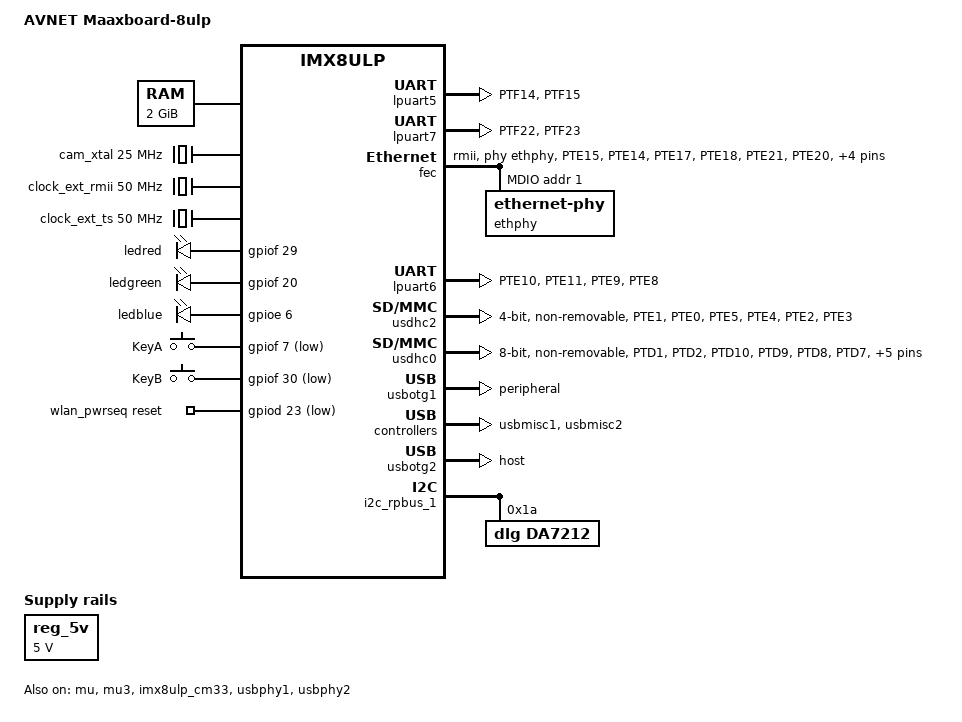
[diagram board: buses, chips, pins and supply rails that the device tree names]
// SPDX-License-Identifier: GPL-2.0
/*
 * Device Tree Source for the Avnet MaaXBoard-8ULP (i.MX8ULP Cortex-A55 + Cortex-M33)
 *
 * Copyright (C) 2022 Avnet Corp.
 */

/dts-v1/;

#include "imx8ulp.dtsi"
#include "imx8ulp-rpmsg.dtsi"
#include <dt-bindings/input/input.h>

/ {
	model = "AVNET Maaxboard-8ulp";
	compatible = "avnet,maaxboard-8ulp", "fsl,imx8ulp-evk", "fsl,imx8ulp";

	chosen {
		stdout-path = &lpuart5;
	};

	memory@40000000 {
		device_type = "memory";
		reg = <0x0 0x80000000 0 0x80000000>;
	};

	reserved-memory {
		#address-cells = <2>;
		#size-cells = <2>;
		ranges;

		linux,cma {
			compatible = "shared-dma-pool";
			reusable;
			size = <0 0x28000000>;
			linux,cma-default;
		};

		rsc_table: rsc-table@1fff8000{
			reg = <0 0x1fff8000 0 0x1000>;
			no-map;
		};

		dsp_reserved: dsp_reserved@8e000000 {
			reg = <0 0x8e000000 0 0x1000000>;
			no-map;
		};
		dsp_reserved_heap: dsp_reserved_heap {
			reg = <0 0x8f000000 0 0xef0000>;
			no-map;
		};
		dsp_vdev0vring0: vdev0vring0@8fef0000 {
			reg = <0 0x8fef0000 0 0x8000>;
			no-map;
		};
		dsp_vdev0vring1: vdev0vring1@8fef8000 {
			reg = <0 0x8fef8000 0 0x8000>;
			no-map;
		};
		dsp_vdev0buffer: vdev0buffer@8ff00000 {
			compatible = "shared-dma-pool";
			reg = <0 0x8ff00000 0 0x100000>;
			no-map;
		};

		ele_reserved: ele-reserved@90000000 {
			compatible = "shared-dma-pool";
			reg = <0 0x90000000 0 0x100000>;
			no-map;
		};

		vdev0vring0: vdev0vring0@aff00000 {
			reg = <0 0xaff00000 0 0x8000>;
			no-map;
		};

		vdev0vring1: vdev0vring1@aff08000 {
			reg = <0 0xaff08000 0 0x8000>;
			no-map;
		};

		vdev1vring0: vdev1vring0@aff10000 {
			reg = <0 0xaff10000 0 0x8000>;
			no-map;
		};

		vdev1vring1: vdev1vring1@aff18000 {
			reg = <0 0xaff18000 0 0x8000>;
			no-map;
		};

		vdevbuffer: vdevbuffer@a8400000 {
			compatible = "shared-dma-pool";
			reg = <0 0xa8400000 0 0x100000>;
			no-map;
		};

		audio_reserved: audio@a8500000 {
			compatible = "shared-dma-pool";
			no-map;
			reg = <0 0xa8500000 0 0x100000>;
		};

		m33_reserved: m33_noncacheable_section@a8600000 {
			no-map;
			reg = <0 0xa8600000 0 0x1000000>;
		};
	};

	/* It's a 25MHz crystal oscillator on OV5640 camera board */
	cam_xtal: cam-xtal{
		compatible = "fixed-clock";
		#clock-cells = <0>;
		clock-frequency = <25000000>;
		clock-output-names = "cam_xtal";
	};

	clock_ext_rmii: clock-ext-rmii {
		compatible = "fixed-clock";
		clock-frequency = <50000000>;
		clock-output-names = "ext_rmii_clk";
		#clock-cells = <0>;
	};

	clock_ext_ts: clock-ext-ts {
		compatible = "fixed-clock";
		/* External ts clock is 50MHZ from PHY on EVK board. */
		clock-frequency = <50000000>;
		clock-output-names = "ext_ts_clk";
		#clock-cells = <0>;
	};

	reg_5v: regulator-5v {
		compatible = "regulator-fixed";
		regulator-name = "5V";
		regulator-min-microvolt = <5000000>;
		regulator-max-microvolt = <5000000>;
		regulator-always-on;
	};

	leds {
		compatible = "gpio-leds";
		pinctrl-names = "default";
		pinctrl-0 = <&pinctrl_gpio_leds>;
		status = "okay";

		ledred {
			gpios = <&gpiof 29 GPIO_ACTIVE_HIGH>;
			default-state = "off";
		};

		ledgreen {
			gpios = <&gpiof 20 GPIO_ACTIVE_HIGH>;
			default-state = "off";
		};

		ledblue {
			gpios = <&gpioe 6 GPIO_ACTIVE_HIGH>;
			linux,default-trigger = "heartbeat";
			default-state = "on";
		};
	};

	gpio-keys {
		compatible = "gpio-keys";
		pinctrl-names = "default";
		pinctrl-0 = <&pinctrl_gpio_keys>;

		UserKeyA {
			label = "KeyA";
			gpios = <&gpiof 7 GPIO_ACTIVE_LOW>;
			linux,code = <KEY_1>;
		};

		UserKeyB {
			label = "KeyB";
			gpios = <&gpiof 30 GPIO_ACTIVE_LOW>;
			linux,code = <KEY_2>;
		};
	};

	wlan_pwrseq: wlan_pwrseq {
		compatible = "mmc-pwrseq-simple";
		pinctrl-names = "default";
		pinctrl-0 = <&pinctrl_wlan>;
		reset-gpios = <&gpiod 23 GPIO_ACTIVE_LOW>;
	};

	rpmsg_audio: rpmsg-audio {
		compatible = "fsl,imx8ulp-rpmsg-audio";
		model = "da7212-audio";
		fsl,rpmsg-out;
		fsl,rpmsg-in;
		audio-codec = <&da7212>;
		memory-region = <&audio_reserved>;

		audio-routing =
			"MIC1", "Mic Jack",
			"Mic Jack", "Mic Bias 1",
			"Headphone Jack", "HPL",
			"Headphone Jack", "HPR";

		status = "okay";
	};

	backlight: pwm-backlight {
		compatible = "pwm-backlight";
		pwms = <&tpm_rpchip_3 5 50000 0>;
		brightness-levels = <0 8 32 64 96 128 160 192 224 255>;
		default-brightness-level = <8>;
		enable-pwm-on;
		status = "disabled";
	};
};

/*+--------------------+
  | Cortex M33 mailbox |
  +--------------------+*/

&mu {
	status = "okay";
};

&mu3 {
	status = "okay";
};

&ele_mu {
	memory-region = <&ele_reserved>;
};

&imx8ulp_cm33 {
	ipc-only;
	rsc-da=<0x1fff8000>;
	mbox-names = "tx", "rx", "rxdb";
	mboxes = <&mu 0 1
			&mu 1 1
			&mu 3 1>;
	memory-region = <&vdevbuffer>, <&vdev0vring0>, <&vdev0vring1>,
			<&vdev1vring0>, <&vdev1vring1>, <&rsc_table>;
	status = "okay";
};

/*+--------------------+
  | Console serial port|
  +--------------------+*/

&lpuart5 {
	/* console */
	pinctrl-names = "default", "sleep";
	pinctrl-0 = <&pinctrl_lpuart5>;
	pinctrl-1 = <&pinctrl_lpuart5>;
	status = "okay";
};

&lpuart7 {
	/* shared with CM33 console */
	pinctrl-names = "default", "sleep";
	pinctrl-0 = <&pinctrl_lpuart7>;
	pinctrl-1 = <&pinctrl_lpuart7>;
	status = "okay";
};

/*+------------------+
  | Ethernet Modules |
  +------------------+*/

&fec {
	pinctrl-names = "default", "sleep";
	pinctrl-0 = <&pinctrl_enet>;
	pinctrl-1 = <&pinctrl_enet>;
	clocks = <&cgc1 IMX8ULP_CLK_XBAR_DIVBUS>,
		 <&pcc4 IMX8ULP_CLK_ENET>,
		 <&cgc1 IMX8ULP_CLK_ENET_TS_SEL>,
		 <&clock_ext_rmii>;
	clock-names = "ipg", "ahb", "ptp", "enet_clk_ref";
	assigned-clocks = <&cgc1 IMX8ULP_CLK_ENET_TS_SEL>;
	assigned-clock-parents = <&clock_ext_ts>;
	phy-mode = "rmii";
	phy-handle = <&ethphy>;
	status = "okay";

	mdio {
		#address-cells = <1>;
		#size-cells = <0>;

		ethphy: ethernet-phy {
			reg = <1>;
			micrel,led-mode = <1>;
		};
	};
};

/*+-----------------------+
  | WiFi/Bluetooth Module |
  +-----------------------+*/

&lpuart6 {
	/* BlueTooth */
	pinctrl-names = "default", "sleep";
	pinctrl-0 = <&pinctrl_lpuart6>;
	pinctrl-1 = <&pinctrl_lpuart6>;
	status = "okay";
};

&usdhc2 {
	pinctrl-names = "default", "state_100mhz", "state_200mhz", "sleep";
	pinctrl-0 = <&pinctrl_usdhc2_pte>;
	pinctrl-1 = <&pinctrl_usdhc2_pte>;
	pinctrl-2 = <&pinctrl_usdhc2_pte>;
	pinctrl-3 = <&pinctrl_usdhc2_pte>;
	mmc-pwrseq = <&wlan_pwrseq>;
	max-frequency = <100000000>;
	bus-width = <4>;
	keep-power-in-suspend;
	non-removable;
	wakeup-source;
	fsl,sdio-async-interrupt-enabled;
	status = "okay";
};

/*+----------------+
  | SD/USB Modules |
  +----------------+*/

&usdhc0 {
	pinctrl-names = "default", "state_100mhz", "state_200mhz", "sleep";
	pinctrl-0 = <&pinctrl_usdhc0>;
	pinctrl-1 = <&pinctrl_usdhc0>;
	pinctrl-2 = <&pinctrl_usdhc0>;
	pinctrl-3 = <&pinctrl_usdhc0>;
	non-removable;
	bus-width = <8>;
	status = "okay";
};

&usbotg1 { /* TypeC for power support on MaaXBoard-8ULP */
	dr_mode = "peripheral";
	status = "okay";
};

&usbphy1 {
	status = "okay";
};

&usbmisc1 {
	status = "okay";
};

&usbotg2 { /* Connect to USB HUB for 4*port on MaaXBoard-8ULP */
	dr_mode = "host";
	status = "okay";
};

&usbphy2 {
	status = "okay";
};

&usbmisc2 {
	status = "okay";
};

/*+---------------------+
  | MIPI-DSI LCD Module |
  +---------------------+*/

&dcnano {
	status = "disabled";
};

&dphy {
	status = "disabled";
};

&dsi {
	status = "disabled";
};

&i2c_rpbus_0 {
	#address-cells = <1>;
	#size-cells = <0>;
	status = "disabled";

	/* touch screen for avnet,ph720128t005 */
	gt911: gt911_ts@14 {
		compatible = "goodix,gt911";
		reg = <0x14>;
		interrupt-parent = <&rpmsg_gpioa>;
		interrupts = <19 IRQ_TYPE_EDGE_FALLING>;
		reset-gpios = <&rpmsg_gpioa 5 GPIO_ACTIVE_HIGH>;
		irq-gpios = <&rpmsg_gpioa 19 GPIO_ACTIVE_HIGH>;
		touchscreen-size-x = <720>;
		touchscreen-size-y = <1280>;
		edge-failling-trigger;
		status = "disabled";
	};

	/* touch screen for avnet,ph720128t003 */
	ft5426: ft5426_ts@38 {
		compatible = "focaltech,fts";
		reg = <0x38>;
		interrupt-parent = <&rpmsg_gpioa>;
		interrupts = <19 IRQ_TYPE_EDGE_FALLING>;
		focaltech,reset-gpio = <&rpmsg_gpioa 5 GPIO_ACTIVE_HIGH>;
		focaltech,irq-gpio = <&rpmsg_gpioa 19 GPIO_ACTIVE_HIGH>;
		focaltech,max-touch-number = <10>;
		focaltech,panel-type = <0x54260002>; /* _FT5426 */
		focaltech,display-coords =	<0 0 720 1280>;
		focaltech,have-key;
		focaltech,key-number = <3>;
		focaltech,keys = <139 102 158>;
		focaltech,key-y-coord = <2000>;
		focaltech,key-x-coords = <200 600 800>;
		status = "disabled";
	};
};

/*+-------------------------+
  |   Audio/Camera Module   |
  +-------------------------+*/

&i2c_rpbus_1 {
	#address-cells = <1>;
	#size-cells = <0>;
	status = "okay";

	da7212: codec@1a {
		compatible = "dlg,da7212";
		#sound-dai-cells = <0>;
		reg = <0x1a>;
		dlg,micbias1-lvl = <2500>;
		dlg,micbias2-lvl = <2500>;
		clocks = <&da7212_mclk>;
		clock-names = "mclk";
	};

	ov5640_mipi: ov5640_mipi@3c {
		compatible = "ovti,ov5640";
		reg = <0x3c>;
		clocks = <&cam_xtal>;
		clock-names = "xclk";
		powerdown-gpios = <&rpmsg_gpioc 23 GPIO_ACTIVE_LOW>;
		status = "disabled";
		port {
			ov5640_mipi_ep: endpoint {
				remote-endpoint = <&mipi_csi0_ep>;
				data-lanes = <1 2>;
				clocks-lanes = <0>;
			};
		};
	};
};

&cameradev {
	status = "disabled";
};

&isi_0 {
	status = "disabled";

	cap_device {
		status = "disabled";
	};
};

&mipi_csi0 {
	#address-cells = <1>;
	#size-cells = <0>;

	status = "disabled";
	port@0 {
		reg = <0>;
		mipi_csi0_ep: endpoint {
			remote-endpoint = <&ov5640_mipi_ep>;
			data-lanes = <1 2>;
			bus-type = <4>;
		};
	};
};

&epxp {
	status = "disabled";
};

/*+---------------+
  | iomux pinctrl |
  +---------------+*/

&iomuxc1 {
	pinctrl-names = "default";

	pinctrl_enet: enetgrp {
		fsl,pins = <
			MX8ULP_PAD_PTE15__ENET0_MDC		0x43
			MX8ULP_PAD_PTE14__ENET0_MDIO	0x43
			MX8ULP_PAD_PTE17__ENET0_RXER	0x43
			MX8ULP_PAD_PTE18__ENET0_CRS_DV	0x43
			MX8ULP_PAD_PTE21__ENET0_RXD0	0x43
			MX8ULP_PAD_PTE20__ENET0_RXD1	0x43
			MX8ULP_PAD_PTE16__ENET0_TXEN	0x43
			MX8ULP_PAD_PTE23__ENET0_TXD0	0x43
			MX8ULP_PAD_PTE22__ENET0_TXD1	0x43
			MX8ULP_PAD_PTE19__ENET0_REFCLK	0x43
		>;
	};

	pinctrl_lpuart5: lpuart5grp {
		fsl,pins = <
			MX8ULP_PAD_PTF14__LPUART5_TX	0x3
			MX8ULP_PAD_PTF15__LPUART5_RX	0x3
		>;
	};

	pinctrl_lpuart6: lpuart6grp {
		fsl,pins = <
			MX8ULP_PAD_PTE10__LPUART6_TX	0x3
			MX8ULP_PAD_PTE11__LPUART6_RX	0x3
			MX8ULP_PAD_PTE9__LPUART6_RTS_B	0x3
			MX8ULP_PAD_PTE8__LPUART6_CTS_B	0x3
		>;
	};

	pinctrl_lpuart7: lpuart7grp {
		fsl,pins = <
			MX8ULP_PAD_PTF22__LPUART7_TX	0x3
			MX8ULP_PAD_PTF23__LPUART7_RX	0x3
		>;
	};

	pinctrl_usdhc0: usdhc0grp {
		fsl,pins = <
			MX8ULP_PAD_PTD1__SDHC0_CMD	0x3
			MX8ULP_PAD_PTD2__SDHC0_CLK	0x10002
			MX8ULP_PAD_PTD10__SDHC0_D0	0x3
			MX8ULP_PAD_PTD9__SDHC0_D1	0x3
			MX8ULP_PAD_PTD8__SDHC0_D2	0x3
			MX8ULP_PAD_PTD7__SDHC0_D3	0x3
			MX8ULP_PAD_PTD6__SDHC0_D4	0x3
			MX8ULP_PAD_PTD5__SDHC0_D5	0x3
			MX8ULP_PAD_PTD4__SDHC0_D6	0x3
			MX8ULP_PAD_PTD3__SDHC0_D7	0x3
			MX8ULP_PAD_PTD11__SDHC0_DQS 0x10002
		>;
	};

	pinctrl_gpio_leds: gpioleds {
		fsl,pins = <
			MX8ULP_PAD_PTF20__PTF20		0x3
			MX8ULP_PAD_PTF29__PTF29		0x3
			MX8ULP_PAD_PTE6__PTE6		0x3
		>;
	};

	pinctrl_gpio_keys: gpiokeys {
		fsl,pins = <
			MX8ULP_PAD_PTF30__PTF30		0x3
			MX8ULP_PAD_PTF7__PTF7		0x3
		>;
	};

	pinctrl_wlan: wlangrp {
		fsl,pins = <
			MX8ULP_PAD_PTD23__PTD23		0x3
		>;
	};

	pinctrl_usdhc2_pte: usdhc2ptegrp {
		fsl,pins = <
			MX8ULP_PAD_PTE1__SDHC2_D0	0x3
			MX8ULP_PAD_PTE0__SDHC2_D1	0x3
			MX8ULP_PAD_PTE5__SDHC2_D2	0x3
			MX8ULP_PAD_PTE4__SDHC2_D3	0x3
			MX8ULP_PAD_PTE2__SDHC2_CLK	0x10002
			MX8ULP_PAD_PTE3__SDHC2_CMD	0x3
		>;
	};
};
